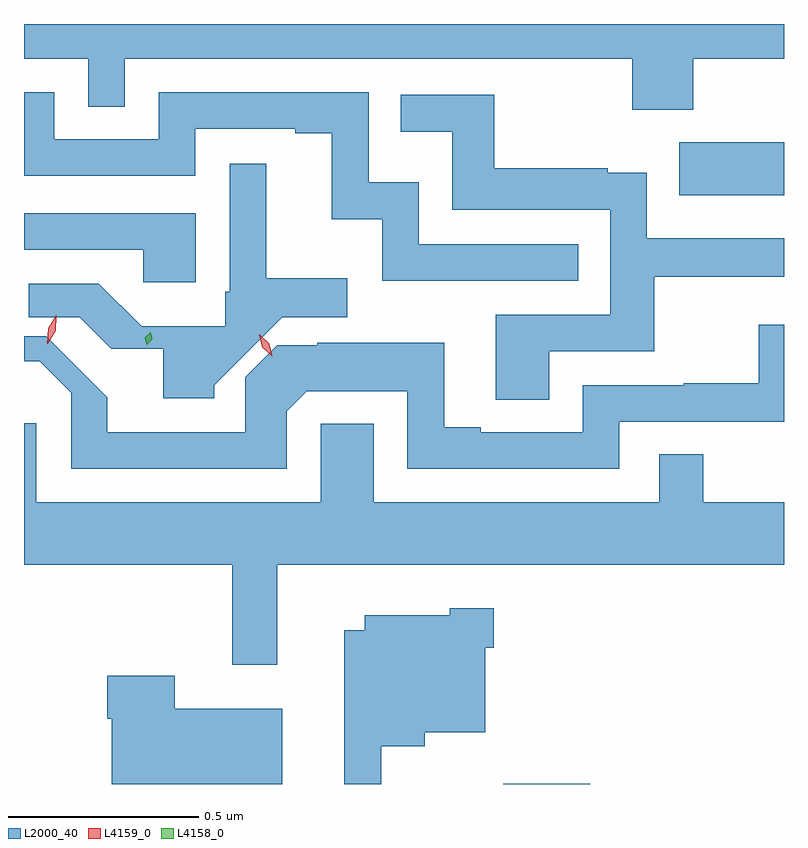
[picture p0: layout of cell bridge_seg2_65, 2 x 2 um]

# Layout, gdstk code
import gdstk
lib = gdstk.Library(unit=1e-6, precision=1e-09)
def R(c, l, rs):  # rectangles x0, y0, x1, y1
    for r in rs: c.add(gdstk.rectangle(r[:2], r[2:], *l))
def P(c, l, *ps):  # polygons
    for p in ps: c.add(gdstk.Polygon(p, *l))
L2000_40 = (2000, 40)
L4158_0 = (4158, 0)
L4159_0 = (4159, 0)

bridge_seg2_65 = lib.new_cell('bridge_seg2_65')
R(bridge_seg2_65, L2000_40, [(999.762,607.099,999.991,607.1)])
P(bridge_seg2_65, L2000_40, [(1000.262,609.008),(1000.501,609.008),(1000.501,609.099),(998.501,609.099),(998.501,609.008),(998.67,609.008),(998.67,608.881),(998.766,608.881),(998.766,609.008),(1000.102,609.008),(1000.102,608.873),(1000.262,608.873)],
  [(999.647,608.424),(999.959,608.424),(999.959,608.52),(999.54,608.52),(999.54,608.683),(999.408,608.683),(999.408,608.919),(998.856,608.919),(998.856,608.796),(998.58,608.796),(998.58,608.919),(998.501,608.919),(998.501,608.7),(998.952,608.7),(998.952,608.823),(999.215,608.823),(999.215,608.811),(999.311,608.811),(999.311,608.585),(999.444,608.585),(999.444,608.423),(999.647,608.423)],
  [(999.883,608.238),(1000.16,608.238),(1000.16,608.434),(1000.501,608.434),(1000.501,608.535),(1000.14,608.535),(1000.14,608.707),(1000.037,608.707),(1000.037,608.719),(999.739,608.719),(999.739,608.913),(999.493,608.913),(999.493,608.816),(999.628,608.816),(999.628,608.61),(1000.044,608.61),(1000.044,608.334),(999.743,608.334),(999.743,608.11),(999.883,608.11)],
  [(1000.439,608.649),(1000.501,608.649),(1000.501,608.788),(1000.225,608.788),(1000.225,608.648),(1000.439,608.648)],
  [(999.002,608.149),(999.18,608.327),(999.351,608.327),(999.351,608.43),(999.139,608.43),(999.139,608.731),(999.042,608.731),(999.042,608.394),(999.031,608.394),(999.031,608.303),(998.811,608.303),(998.698,608.415),(998.514,608.415),(998.514,608.327),(998.648,608.327),(998.73,608.244),(998.867,608.244),(998.867,608.114),(999.002,608.114)],
  [(998.953,608.601),(998.501,608.601),(998.501,608.505),(998.815,608.505),(998.815,608.42),(998.953,608.42)],
  [(999.193,608.08),(999.245,608.132),(999.51,608.132),(999.51,607.929),(1000.068,607.929),(1000.068,608.052),(1000.501,608.052),(1000.501,608.308),(1000.434,608.308),(1000.434,608.153),(1000.237,608.153),(1000.237,608.148),(999.972,608.148),(999.972,608.025),(999.703,608.025),(999.703,608.038),(999.607,608.038),(999.607,608.26),(999.273,608.26),(999.273,608.254),(999.167,608.254),(999.083,608.17),(999.083,608.025),(998.72,608.025),(998.72,608.117),(998.559,608.277),(998.501,608.277),(998.501,608.212),(998.542,608.212),(998.625,608.129),(998.625,607.929),(999.193,607.929)],
  [(999.168,607.676),(1000.501,607.676),(1000.501,607.84),(1000.289,607.84),(1000.289,607.967),(1000.173,607.967),(1000.173,607.84),(999.421,607.84),(999.421,608.047),(999.282,608.047),(999.282,607.84),(998.533,607.84),(998.533,608.049),(998.501,608.049),(998.501,607.676),(999.049,607.676),(999.049,607.413),(999.168,607.413)],
  [(999.441,607.199),(999.556,607.199),(999.556,607.235),(999.715,607.235),(999.715,607.457),(999.737,607.457),(999.737,607.561),(999.621,607.561),(999.621,607.543),(999.398,607.543),(999.398,607.504),(999.344,607.504),(999.344,607.099),(999.441,607.099)],
  [(999.181,607.297),(998.898,607.297),(998.898,607.384),(998.72,607.384),(998.72,607.271),(998.732,607.271),(998.732,607.099),(999.181,607.099)])
P(bridge_seg2_65, L4158_0, [(998.824,608.255),(998.824,608.255),(998.819,608.274),(998.833,608.287),(998.833,608.288),(998.834,608.287),(998.838,608.269),(998.824,608.255)])
P(bridge_seg2_65, L4159_0, [(999.154,608.225),(999.154,608.225),(999.128,608.248),(999.12,608.281),(999.12,608.282),(999.12,608.282),(999.146,608.258),(999.154,608.225)],
  [(998.562,608.258),(998.565,608.298),(998.586,608.333),(998.586,608.333),(998.586,608.332),(998.584,608.292),(998.563,608.258),(998.563,608.258)])

lib.write_gds('bridge_seg2_65.gds')
